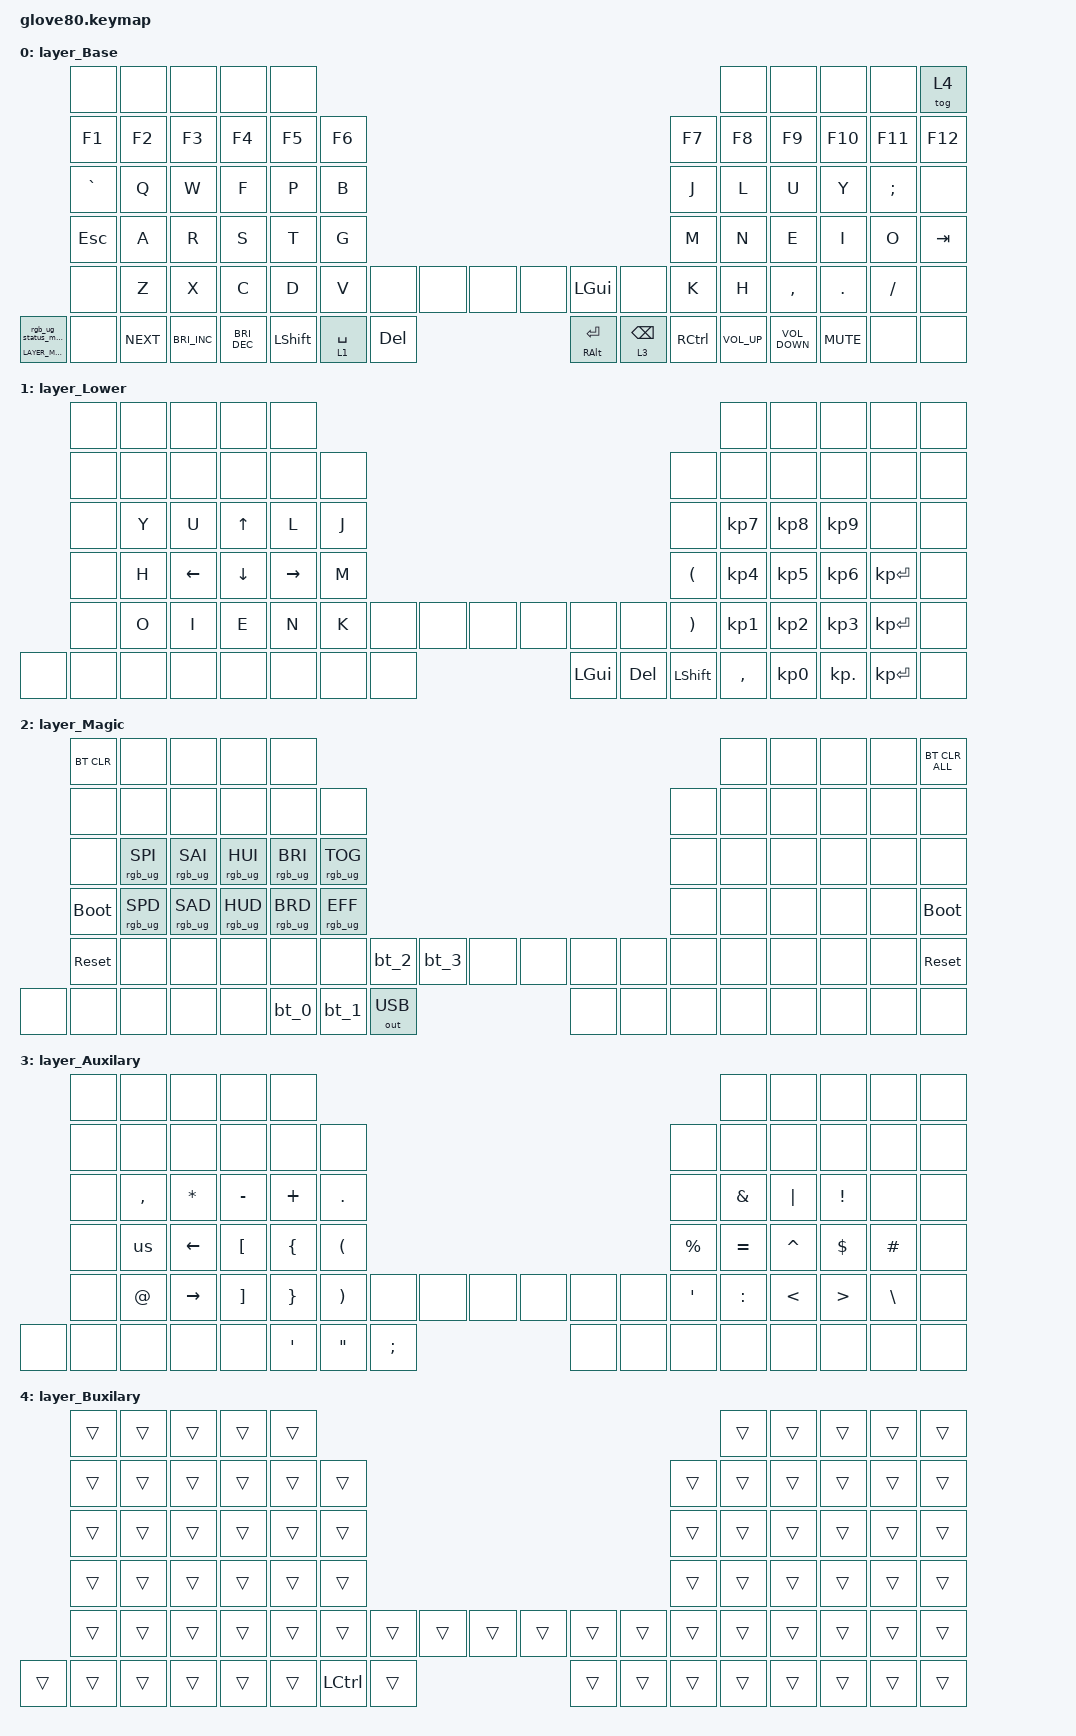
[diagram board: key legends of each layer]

/*
 * Copyright (c) 2020 The ZMK Contributors
 * Copyright (c) 2023 Innaworks Development Limited, trading as MoErgo
 *
 * SPDX-License-Identifier: MIT
 */


/* THIS FILE WAS GENERATED BY GLOVE80 LAYOUT EDITOR
 *
 * This file was generated automatically. You may or may not want to
 * edit it directly.
 */

#include <behaviors.dtsi>
/* Include all behaviour includes needed */
#include <dt-bindings/zmk/outputs.h>
#include <dt-bindings/zmk/keys.h>
#include <dt-bindings/zmk/bt.h>
#include <dt-bindings/zmk/rgb.h>

/* Automatically generated layer name #define */
#define LAYER_Base 0
#define LAYER_Lower 1
#define LAYER_Magic 2
#define LAYER_Auxilary 3
#define LAYER_Onehand 4

/* To deal with the situation where there is no Lower layer, to keep &lower happy */
#ifndef LAYER_Lower
#define LAYER_Lower 0
#endif


&lt {
    tapping-term-ms = <150>;
};

/ {
    /* Glove80 system behavior & macros */
    behaviors {

        // For the "layer" key, it'd nice to be able to use it as either a shift or a toggle.
        // Configure it as a tap dance, so the first tap (or hold) is a &mo and the second tap is a &to
        lower: lower {
            compatible = "zmk,behavior-tap-dance";
            label = "LAYER_TAP_DANCE";
            #binding-cells = <0>;
            tapping-term-ms = <200>;
            bindings = <&mo LAYER_Lower>, <&to LAYER_Lower>;
        };

        
        hm: homerow_mods {
            compatible = "zmk,behavior-hold-tap";
            label = "HOMEROW_MODS";
            #binding-cells = <2>;
            tapping-term-ms = <150>;
            quick-tap-ms = <0>;
            flavor = "tap-preferred";
            bindings = <&kp>, <&kp>;
        };
    
    };
};

/ {
    macros {
        rgb_ug_status_macro: rgb_ug_status_macro {
            label = "RGB_UG_STATUS";
            compatible = "zmk,behavior-macro";
            #binding-cells = <0>;
            bindings
                = <&rgb_ug RGB_STATUS>;
        };

        us: us {
            label = "us";
            compatible = "zmk,behavior-macro";
            #binding-cells = <0>;
            bindings
                = <&macro_press &kp LSHIFT>
                , <&macro_tap &kp MINUS>
                , <&macro_release &kp LSHIFT>
                ;
        };

        bt_0: bt_0 {
            label = "BT_0";
            compatible = "zmk,behavior-macro";
            #binding-cells = <0>;
            bindings
                = <&out OUT_BLE>,
                  <&bt BT_SEL 0>;
        };

        bt_1: bt_1 {
            label = "BT_1";
            compatible = "zmk,behavior-macro";
            #binding-cells = <0>;
            bindings
                = <&out OUT_BLE>,
                  <&bt BT_SEL 1>;
        };

        bt_2: bt_2 {
            label = "BT_2";
            compatible = "zmk,behavior-macro";
            #binding-cells = <0>;
            bindings
                = <&out OUT_BLE>,
                  <&bt BT_SEL 2>;
        };

        bt_3: bt_3 {
            label = "BT_3";
            compatible = "zmk,behavior-macro";
            #binding-cells = <0>;
            bindings
                = <&out OUT_BLE>,
                  <&bt BT_SEL 3>;
        };
    };
};

/ {
    magic: magic {
        compatible = "zmk,behavior-hold-tap";
        label = "MAGIC_HOLD_TAP";
        #binding-cells = <2>;
        flavor = "tap-preferred";
        tapping-term-ms = <200>;
        bindings = <&mo>, <&rgb_ug_status_macro>;
    };
};

    /* #define for key positions */
#define POS_LH_T1 52
#define POS_LH_T2 53
#define POS_LH_T3 54
#define POS_LH_T4 69
#define POS_LH_T5 70
#define POS_LH_T6 71
#define POS_LH_C1R2 15
#define POS_LH_C1R3 27
#define POS_LH_C1R4 39
#define POS_LH_C1R5 51
#define POS_LH_C2R1 4
#define POS_LH_C2R2 14
#define POS_LH_C2R3 26
#define POS_LH_C2R4 38
#define POS_LH_C2R5 50
#define POS_LH_C2R6 68
#define POS_LH_C3R1 3
#define POS_LH_C3R2 13
#define POS_LH_C3R3 25
#define POS_LH_C3R4 37
#define POS_LH_C3R5 49
#define POS_LH_C3R6 67
#define POS_LH_C4R1 2
#define POS_LH_C4R2 12
#define POS_LH_C4R3 24
#define POS_LH_C4R4 36
#define POS_LH_C4R5 48
#define POS_LH_C4R6 66
#define POS_LH_C5R1 1
#define POS_LH_C5R2 11
#define POS_LH_C5R3 23
#define POS_LH_C5R4 35
#define POS_LH_C5R5 47
#define POS_LH_C5R6 65
#define POS_LH_C6R1 0
#define POS_LH_C6R2 10
#define POS_LH_C6R3 22
#define POS_LH_C6R4 34
#define POS_LH_C6R5 46
#define POS_LH_C6R6 64
#define POS_RH_T1 57
#define POS_RH_T2 56
#define POS_RH_T3 55
#define POS_RH_T4 74
#define POS_RH_T5 73
#define POS_RH_T6 72
#define POS_RH_C1R2 16
#define POS_RH_C1R3 28
#define POS_RH_C1R4 40
#define POS_RH_C1R5 58
#define POS_RH_C2R1 5
#define POS_RH_C2R2 17
#define POS_RH_C2R3 29
#define POS_RH_C2R4 41
#define POS_RH_C2R5 59
#define POS_RH_C2R6 75
#define POS_RH_C3R1 6
#define POS_RH_C3R2 18
#define POS_RH_C3R3 30
#define POS_RH_C3R4 42
#define POS_RH_C3R5 60
#define POS_RH_C3R6 76
#define POS_RH_C4R1 7
#define POS_RH_C4R2 19
#define POS_RH_C4R3 31
#define POS_RH_C4R4 43
#define POS_RH_C4R5 61
#define POS_RH_C4R6 77
#define POS_RH_C5R1 8
#define POS_RH_C5R2 20
#define POS_RH_C5R3 32
#define POS_RH_C5R4 44
#define POS_RH_C5R5 62
#define POS_RH_C5R6 78
#define POS_RH_C6R1 9
#define POS_RH_C6R2 21
#define POS_RH_C6R3 33
#define POS_RH_C6R4 45
#define POS_RH_C6R5 63
#define POS_RH_C6R6 79

    /* Custom Defined Behaviors */
/ {
    
};

    /* Automatically generated keymap */
/ {
    keymap {
        compatible = "zmk,keymap";
        layer_Base {
            bindings = <
             &none       &none     &none        &none                 &none                                                                                                    &none              &none              &none      &none     &tog 4
             &kp F1      &kp F2    &kp F3       &kp F4                &kp F5         &kp F6                                                                            &kp F7  &kp F8             &kp F9             &kp F10    &kp F11   &kp F12
             &kp GRAVE   &kp Q     &kp W        &kp F                 &kp P          &kp B                                                                             &kp J   &kp L              &kp U              &kp Y      &kp SEMI  &none
             &kp ESC     &kp A     &kp R        &kp S                 &kp T          &kp G                                                                             &kp M   &kp N              &kp E              &kp I      &kp O     &kp TAB
             &none       &kp Z     &kp X        &kp C                 &kp D          &kp V  &none      &none         &none     &none          &kp LGUI     &none       &kp K   &kp H              &kp COMMA          &kp DOT    &kp FSLH  &none
 &magic LAYER_Magic 0    &none     &kp C_NEXT   &kp C_BRIGHTNESS_INC  &kp C_BRIGHTNESS_DEC  &kp LSHFT  &lt 1 SPACE   &kp DEL   &hm RALT RET   &lt 3 BSPC   &kp RCTRL           &kp C_VOLUME_UP    &kp C_VOLUME_DOWN  &kp C_MUTE &none     &none
            >;
        };

        layer_Lower { 
            bindings = <
       &none   &none      &none      &none      &none                                                                                      &none       &none       &none        &none          &none
       &none   &none      &none      &none      &none       &none                                                               &none      &none       &none       &none        &none          &none
       &none   &kp Y      &kp U      &kp UP     &kp L       &kp J                                                               &none      &kp KP_N7   &kp KP_N8   &kp KP_N9    &none          &none
       &none   &kp H      &kp LEFT   &kp DOWN   &kp RIGHT   &kp M                                                               &kp LPAR   &kp KP_N4   &kp KP_N5   &kp KP_N6    &kp KP_ENTER   &none
       &none   &kp O      &kp I      &kp E      &kp N       &kp K      &none   &none   &none   &none      &none     &none       &kp RPAR   &kp KP_N1   &kp KP_N2   &kp KP_N3    &kp KP_ENTER   &none
       &none   &none      &none      &none      &none                  &none   &none   &none   &kp LGUI   &kp DEL   &kp LSHFT              &kp COMMA   &kp KP_N0   &kp KP_DOT   &kp KP_ENTER   &none
            >;
        };

        layer_Magic {
            bindings = <
  &bt BT_CLR            &none            &none            &none            &none                                                                                  &none   &none   &none   &none  &bt BT_CLR_ALL
       &none            &none            &none            &none            &none            &none                                                         &none   &none   &none   &none   &none           &none
       &none  &rgb_ug RGB_SPI  &rgb_ug RGB_SAI  &rgb_ug RGB_HUI  &rgb_ug RGB_BRI  &rgb_ug RGB_TOG                                                         &none   &none   &none   &none   &none           &none
 &bootloader  &rgb_ug RGB_SPD  &rgb_ug RGB_SAD  &rgb_ug RGB_HUD  &rgb_ug RGB_BRD  &rgb_ug RGB_EFF                                                         &none   &none   &none   &none   &none     &bootloader
  &sys_reset            &none            &none            &none            &none            &none   &bt_2   &bt_3         &none   &none   &none   &none   &none   &none   &none   &none   &none      &sys_reset
       &none            &none            &none            &none            &none                    &bt_0   &bt_1  &out OUT_USB   &none   &none   &none           &none   &none   &none   &none           &none
            >;
        };

	    layer_Auxilary {
            bindings = <
       &none   &none        &none      &none      &none                                                                                    &none       &none       &none      &none         &none
       &none   &none        &none      &none      &none      &none                                                             &none       &none       &none       &none      &none         &none
       &none   &kp COMMA    &kp STAR   &kp MINUS  &kp PLUS   &kp DOT                                                           &none       &kp AMPS    &kp PIPE    &kp EXCL   &none         &none
       &none   &us          &kp LEFT   &kp LBKT   &kp LBRC   &kp LPAR                                                          &kp PRCNT   &kp EQUAL   &kp CARET   &kp DLLR   &kp HASH      &none
       &none   &kp AT       &kp RIGHT  &kp RBKT   &kp RBRC   &kp RPAR   &none     &none      &none     &none   &none   &none   &kp SQT     &kp COLON   &kp LT      &kp GT     &kp BSLH      &none
       &none   &none        &none      &none      &none                 &kp SQT   &kp DQT    &kp SEMI  &none   &none   &none               &none       &none       &none      &none         &none
       
            >;
        };

	    layer_Buxilary {
            bindings = <
       &trans   &trans   &trans   &trans   &trans                                                                              &trans   &trans   &trans   &trans   &trans   
       &trans   &trans   &trans   &trans   &trans   &trans                                                            &trans   &trans   &trans   &trans   &trans   &trans   
       &trans   &trans   &trans   &trans   &trans   &trans                                                            &trans   &trans   &trans   &trans   &trans   &trans   
       &trans   &trans   &trans   &trans   &trans   &trans                                                            &trans   &trans   &trans   &trans   &trans   &trans   
       &trans   &trans   &trans   &trans   &trans   &trans   &trans   &trans      &trans   &trans   &trans   &trans   &trans   &trans   &trans   &trans   &trans   &trans   
       &trans   &trans   &trans   &trans   &trans            &trans   &kp LCTRL   &trans   &trans   &trans   &trans            &trans   &trans   &trans   &trans   &trans   
       
            >;
        };

    };
};
